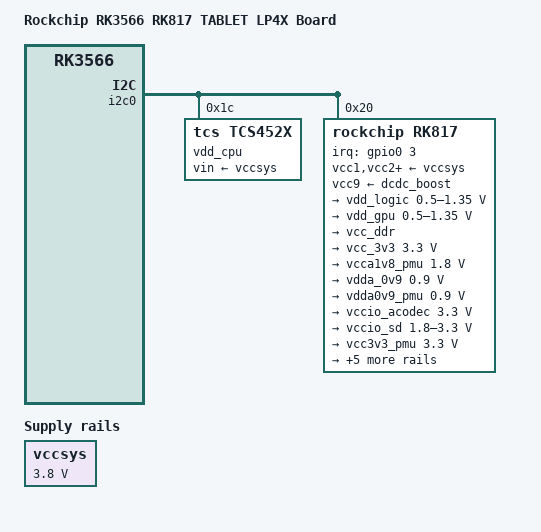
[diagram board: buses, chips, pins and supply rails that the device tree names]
// SPDX-License-Identifier: (GPL-2.0+ OR MIT)
/*
 * Copyright (c) 2020 Rockchip Electronics Co., Ltd.
 *
 * BSP Reference DTS for RK3566 + RK817 PMIC Tablet Platform
 * Source: rockchip-linux/kernel develop-4.19 branch
 * URL: https://github.com/rockchip-linux/kernel/blob/develop-4.19/arch/arm64/boot/dts/rockchip/rk3566-rk817-tablet.dts
 *
 * This is the BASE reference design DTS that ALL Anbernic RG353P/M/V,
 * Powkiddy RGB30/X55/RK2023/X35S, and Anbernic RG-ARC devices are derived from.
 * The compatible string "rockchip,rk3566-rk817-tablet" is used in ALL stock
 * Android firmware DTBs for these devices.
 *
 * PMIC POWER MANAGEMENT CONFIGURATION (CRITICAL FOR POWEROFF/SUSPEND):
 *
 * pinctrl-names = "default", "pmic-sleep", "pmic-power-off", "pmic-reset";
 * pinctrl-0 = <&pmic_int>;                              // default: interrupt pin
 * pinctrl-1 = <&soc_slppin_slp>, <&rk817_slppin_slp>;   // sleep: SLP_FUN on both SoC and PMIC
 * pinctrl-2 = <&soc_slppin_gpio>, <&rk817_slppin_pwrdn>; // power-off: GPIO on SoC, PWRDN on PMIC
 * pinctrl-3 = <&soc_slppin_gpio>, <&rk817_slppin_rst>;   // reset: GPIO on SoC, RST on PMIC
 *
 * SoC side (GPIO0_PA2 / PMU_SLEEP pin):
 *   soc_slppin_gpio: <0 RK_PA2 RK_FUNC_GPIO &pcfg_output_low_pull_down>  // GPIO mode, output low
 *   soc_slppin_slp:  <0 RK_PA2 1 &pcfg_pull_up>                          // Function 1 = PMU_SLEEP
 *   soc_slppin_rst:  <0 RK_PA2 2 &pcfg_pull_none>                        // Function 2 = PMU_RESET
 *
 * PMIC side (gpio_slp pin):
 *   rk817_slppin_null: function = "pin_fun0" // No function (GPIO)
 *   rk817_slppin_slp:  function = "pin_fun1" // SLP_FUN (PMIC sleep mode)
 *   rk817_slppin_pwrdn: function = "pin_fun2" // Power down (PMIC poweroff)
 *   rk817_slppin_rst:  function = "pin_fun3" // Reset (PMIC reset)
 *
 * BSP RK817 driver behavior:
 *   - pmic-reset-func = <0> means "rst the pmic" (not register reset)
 *   - not-save-power-en = <1> means U-Boot won't save PMIC_POWER_EN register
 *   - rockchip,system-power-controller enables the PMIC to control system power
 *
 * KEY DIFFERENCE from mainline:
 *   The BSP driver uses named pinctrl states ("pmic-sleep", "pmic-power-off",
 *   "pmic-reset") and switches between them programmatically. The mainline
 *   driver does NOT use pinctrl for PMIC SLP pin control -- it writes registers
 *   directly. Our powerpin patch (0029) adds lazy pinctrl for poweroff-only.
 *
 * REGULATOR SUSPEND STATES (BSP reference):
 *   DCDC_REG1 (vdd_logic): OFF in suspend, suspend-uV = 900000
 *   DCDC_REG2 (vdd_gpu):   OFF in suspend
 *   DCDC_REG3 (vcc_ddr):   ON in suspend
 *   DCDC_REG4 (vcc_3v3):   ON in suspend, suspend-uV = 3300000
 *   LDO_REG1 (vcca1v8_pmu): ON in suspend, suspend-uV = 1800000
 *   LDO_REG2 (vdda_0v9):   OFF in suspend
 *   LDO_REG3 (vdda0v9_pmu): ON in suspend, suspend-uV = 900000
 *   LDO_REG4 (vccio_acodec): OFF in suspend
 *   LDO_REG5 (vccio_sd):   OFF in suspend
 *   LDO_REG6 (vcc3v3_pmu): ON in suspend, suspend-uV = 3000000
 *   LDO_REG7 (vcc_1v8):    OFF in suspend
 *   LDO_REG8 (vcc1v8_dvp): OFF in suspend
 *   LDO_REG9 (vcc2v8_dvp): OFF in suspend
 *   BOOST:                  OFF in suspend
 *   OTG_SWITCH:             OFF in suspend
 *
 * The rk3566-rk817-tablet-v10.dts variant differs only in:
 *   - WiFi reset GPIO: RK_PB1 vs RK_PC0 (on gpio2)
 *   - BT GPIOs: different pins on gpio2
 *   - WiFi wake IRQ: RK_PB2 on gpio2 vs RK_PC4 on gpio0
 *   - DCDC_REG4 (vcc_3v3) OFF in suspend vs ON in suspend
 *   - pmuio2-supply: vcc3v3_pmu vs vcc_3v3
 *   - Several IO domain supply differences
 *   - DSI routing: vp0 enabled instead of vp1
 *   - LCD has stbyb-gpios
 *   - charger has gate_function_disable = <1>
 *   - BOOST voltage range: 4700000-5400000 vs 5000000 fixed
 *   The PMIC SLPPIN / power management configuration is IDENTICAL.
 */

/dts-v1/;

#include <dt-bindings/gpio/gpio.h>
#include <dt-bindings/pinctrl/rockchip.h>
#include <dt-bindings/input/rk-input.h>
#include <dt-bindings/sensor-dev.h>
#include <dt-bindings/display/drm_mipi_dsi.h>
#include "rk3566.dtsi"
#include "rk3568-android.dtsi"

/ {
	model = "Rockchip RK3566 RK817 TABLET LP4X Board";
	compatible = "rockchip,rk3566-rk817-tablet", "rockchip,rk3566";

	vccsys: vccsys {
		compatible = "regulator-fixed";
		regulator-name = "vcc3v8_sys";
		regulator-always-on;
		regulator-boot-on;
		regulator-min-microvolt = <3800000>;
		regulator-max-microvolt = <3800000>;
	};
};

&i2c0 {
	status = "okay";

	vdd_cpu: tcs4525@1c {
		compatible = "tcs,tcs452x";
		reg = <0x1c>;
		vin-supply = <&vccsys>;
		regulator-compatible = "fan53555-reg";
		regulator-name = "vdd_cpu";
		regulator-min-microvolt = <712500>;
		regulator-max-microvolt = <1390000>;
		regulator-init-microvolt = <900000>;
		regulator-ramp-delay = <2300>;
		fcs,suspend-voltage-selector = <1>;
		regulator-boot-on;
		regulator-always-on;
		regulator-state-mem {
			regulator-off-in-suspend;
		};
	};

	rk817: pmic@20 {
		compatible = "rockchip,rk817";
		reg = <0x20>;
		interrupt-parent = <&gpio0>;
		interrupts = <3 IRQ_TYPE_LEVEL_LOW>;

		pinctrl-names = "default", "pmic-sleep",
				"pmic-power-off", "pmic-reset";
		pinctrl-0 = <&pmic_int>;
		pinctrl-1 = <&soc_slppin_slp>, <&rk817_slppin_slp>;
		pinctrl-2 = <&soc_slppin_gpio>, <&rk817_slppin_pwrdn>;
		pinctrl-3 = <&soc_slppin_gpio>, <&rk817_slppin_rst>;
		rockchip,system-power-controller;
		wakeup-source;
		#clock-cells = <1>;
		clock-output-names = "rk808-clkout1", "rk808-clkout2";
		/* 1: rst regs (default in codes), 0: rst the pmic */
		pmic-reset-func = <0>;
		/* not save the PMIC_POWER_EN register in uboot */
		not-save-power-en = <1>;

		vcc1-supply = <&vccsys>;
		vcc2-supply = <&vccsys>;
		vcc3-supply = <&vccsys>;
		vcc4-supply = <&vccsys>;
		vcc5-supply = <&vccsys>;
		vcc6-supply = <&vccsys>;
		vcc7-supply = <&vccsys>;
		vcc8-supply = <&vccsys>;
		vcc9-supply = <&dcdc_boost>;

		pwrkey {
			status = "okay";
		};

		pinctrl_rk8xx: pinctrl_rk8xx {
			gpio-controller;
			#gpio-cells = <2>;

			rk817_slppin_null: rk817_slppin_null {
				pins = "gpio_slp";
				function = "pin_fun0";
			};

			rk817_slppin_slp: rk817_slppin_slp {
				pins = "gpio_slp";
				function = "pin_fun1";
			};

			rk817_slppin_pwrdn: rk817_slppin_pwrdn {
				pins = "gpio_slp";
				function = "pin_fun2";
			};

			rk817_slppin_rst: rk817_slppin_rst {
				pins = "gpio_slp";
				function = "pin_fun3";
			};
		};

		regulators {
			vdd_logic: DCDC_REG1 {
				regulator-always-on;
				regulator-boot-on;
				regulator-min-microvolt = <500000>;
				regulator-max-microvolt = <1350000>;
				regulator-init-microvolt = <900000>;
				regulator-ramp-delay = <6001>;
				regulator-initial-mode = <0x2>;
				regulator-name = "vdd_logic";
				regulator-state-mem {
					regulator-off-in-suspend;
					regulator-suspend-microvolt = <900000>;
				};
			};

			vdd_gpu: DCDC_REG2 {
				regulator-always-on;
				regulator-boot-on;
				regulator-min-microvolt = <500000>;
				regulator-max-microvolt = <1350000>;
				regulator-init-microvolt = <900000>;
				regulator-ramp-delay = <6001>;
				regulator-initial-mode = <0x2>;
				regulator-name = "vdd_gpu";
				regulator-state-mem {
					regulator-off-in-suspend;
				};
			};

			vcc_ddr: DCDC_REG3 {
				regulator-always-on;
				regulator-boot-on;
				regulator-initial-mode = <0x2>;
				regulator-name = "vcc_ddr";
				regulator-state-mem {
					regulator-on-in-suspend;
				};
			};

			vcc_3v3: DCDC_REG4 {
				regulator-always-on;
				regulator-boot-on;
				regulator-min-microvolt = <3300000>;
				regulator-max-microvolt = <3300000>;
				regulator-initial-mode = <0x2>;
				regulator-name = "vcc_3v3";
				regulator-state-mem {
					regulator-on-in-suspend;
					regulator-suspend-microvolt = <3300000>;
				};
			};

			vcca1v8_pmu: LDO_REG1 {
				regulator-always-on;
				regulator-boot-on;
				regulator-min-microvolt = <1800000>;
				regulator-max-microvolt = <1800000>;
				regulator-name = "vcca1v8_pmu";
				regulator-state-mem {
					regulator-on-in-suspend;
					regulator-suspend-microvolt = <1800000>;
				};
			};

			vdda_0v9: LDO_REG2 {
				regulator-always-on;
				regulator-boot-on;
				regulator-min-microvolt = <900000>;
				regulator-max-microvolt = <900000>;
				regulator-name = "vdda_0v9";
				regulator-state-mem {
					regulator-off-in-suspend;
				};
			};

			vdda0v9_pmu: LDO_REG3 {
				regulator-always-on;
				regulator-boot-on;
				regulator-min-microvolt = <900000>;
				regulator-max-microvolt = <900000>;
				regulator-name = "vdda0v9_pmu";
				regulator-state-mem {
					regulator-on-in-suspend;
					regulator-suspend-microvolt = <900000>;
				};
			};

			vccio_acodec: LDO_REG4 {
				regulator-always-on;
				regulator-boot-on;
				regulator-min-microvolt = <3300000>;
				regulator-max-microvolt = <3300000>;
				regulator-name = "vccio_acodec";
				regulator-state-mem {
					regulator-off-in-suspend;
				};
			};

			vccio_sd: LDO_REG5 {
				regulator-always-on;
				regulator-boot-on;
				regulator-min-microvolt = <1800000>;
				regulator-max-microvolt = <3300000>;
				regulator-name = "vccio_sd";
				regulator-state-mem {
					regulator-off-in-suspend;
				};
			};

			vcc3v3_pmu: LDO_REG6 {
				regulator-always-on;
				regulator-boot-on;
				regulator-min-microvolt = <3300000>;
				regulator-max-microvolt = <3300000>;
				regulator-name = "vcc3v3_pmu";
				regulator-state-mem {
					regulator-on-in-suspend;
					regulator-suspend-microvolt = <3000000>;
				};
			};

			vcc_1v8: LDO_REG7 {
				regulator-always-on;
				regulator-boot-on;
				regulator-min-microvolt = <1800000>;
				regulator-max-microvolt = <1800000>;
				regulator-name = "vcc_1v8";
				regulator-state-mem {
					regulator-off-in-suspend;
				};
			};

			vcc1v8_dvp: LDO_REG8 {
				regulator-always-on;
				regulator-boot-on;
				regulator-min-microvolt = <1800000>;
				regulator-max-microvolt = <1800000>;
				regulator-name = "vcc1v8_dvp";
				regulator-state-mem {
					regulator-off-in-suspend;
				};
			};

			vcc2v8_dvp: LDO_REG9 {
				regulator-always-on;
				regulator-boot-on;
				regulator-min-microvolt = <2800000>;
				regulator-max-microvolt = <2800000>;
				regulator-name = "vcc2v8_dvp";
				regulator-state-mem {
					regulator-off-in-suspend;
				};
			};

			dcdc_boost: BOOST {
				regulator-always-on;
				regulator-boot-on;
				regulator-min-microvolt = <5000000>;
				regulator-max-microvolt = <5000000>;
				regulator-name = "boost";
				regulator-state-mem {
					regulator-off-in-suspend;
				};
			};

			otg_switch: OTG_SWITCH {
				regulator-name = "otg_switch";
				regulator-state-mem {
					regulator-off-in-suspend;
				};
			};
		};

		battery {
			compatible = "rk817,battery";
			ocv_table = <3400 3513 3578 3687 3734 3752 3763
				     3766 3771 3784 3804 3836 3885 3925
				     3962 4005 4063 4114 4169 4227 4303>;
			design_capacity = <5000>;
			design_qmax = <5500>;
			bat_res = <100>;
			sleep_enter_current = <150>;
			sleep_exit_current = <180>;
			sleep_filter_current = <100>;
			power_off_thresd = <3350>;
			zero_algorithm_vol = <3850>;
			max_soc_offset = <60>;
			monitor_sec = <5>;
			sample_res = <10>;
			virtual_power = <0>;
		};

		charger {
			compatible = "rk817,charger";
			min_input_voltage = <4500>;
			max_input_current = <1500>;
			max_chrg_current = <2000>;
			max_chrg_voltage = <4300>;
			chrg_term_mode = <0>;
			chrg_finish_cur = <300>;
			virtual_power = <0>;
			dc_det_adc = <0>;
			extcon = <&usb2phy0>;
		};
	};
};

&pinctrl {
	pmic {
		pmic_int: pmic_int {
			rockchip,pins =
				<0 RK_PA3 RK_FUNC_GPIO &pcfg_pull_up>;
		};

		soc_slppin_gpio: soc_slppin_gpio {
			rockchip,pins =
				<0 RK_PA2 RK_FUNC_GPIO &pcfg_output_low_pull_down>;
		};

		soc_slppin_slp: soc_slppin_slp {
			rockchip,pins =
				<0 RK_PA2 1 &pcfg_pull_up>;
		};

		soc_slppin_rst: soc_slppin_rst {
			rockchip,pins =
				<0 RK_PA2 2 &pcfg_pull_none>;
		};
	};
};
